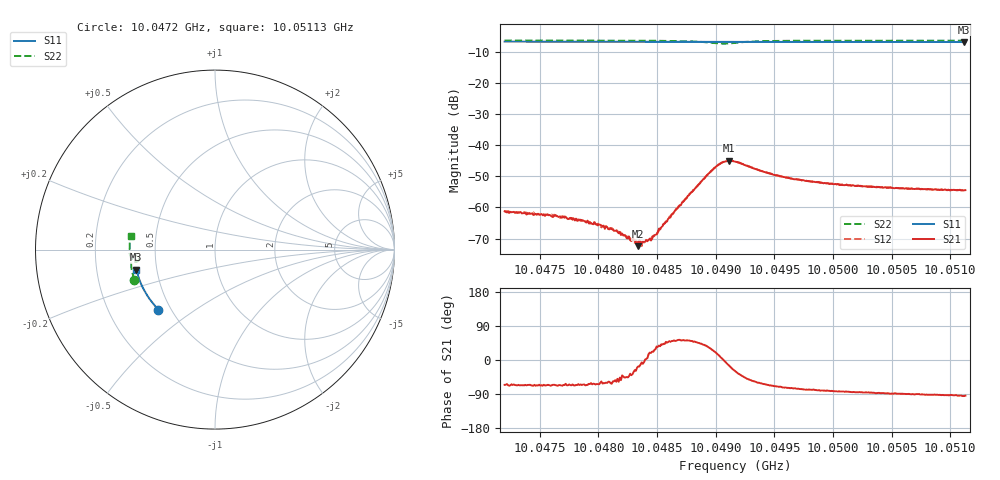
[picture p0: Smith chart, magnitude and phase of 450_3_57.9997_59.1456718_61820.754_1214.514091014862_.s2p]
#  HZ  S  RI  R  50.00
! Rohde & Schwarz Vector Network Analyzer
! Rohde-Schwarz,ZNB20-2Port,1311601062101988,3.16
! Created: UTC 3/21/2024, 1:10:26 AM
! freq[Hz]  re:S11  im:S11  re:S21  im:S21  re:S12  im:S12  re:S22  im:S22
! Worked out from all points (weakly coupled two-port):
!   401 points, 10.0472 GHz to 10.05113 GHz, reference 50 ohm
!   highest |S21| = -45.02 dB at 10.04912 GHz (marker M1); lowest = -72.4 dB at 10.04834 GHz (marker M2)
!   lowest |S11| = -6.9 dB at 10.05112 GHz (marker M3), VSWR 2.65, Z = 19.1 - j5.36 ohm
!   |S11| at or under -10 dB: nowhere
!   |S22| runs from -7.4 to -6.4 dB; largest |S21 - S12| = 0.00037
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1.00472e10  -0.3151 -0.3338  0.000358 -0.000788  0.0004 -0.000771  -0.4489 -0.1682
1.0047612e10  -0.3337 -0.3138  0.000291 -0.00064  0.000348 -0.000653  -0.4575 -0.1412
1.0047858e10  -0.3442 -0.3014  0.000248 -0.00056  0.000303 -0.000554  -0.4616 -0.1245
1.0047956e10  -0.3483 -0.2964  0.000249 -0.000477  0.000288 -0.000484  -0.4629 -0.1174
1.0048025e10  -0.3511 -0.2928  0.000284 -0.000432  0.000265 -0.000399  -0.464 -0.1127
1.0048133e10  -0.3554 -0.2873  0.000234 -0.00035  0.000268 -0.000321  -0.4653 -0.1049
1.0048339e10  -0.3635 -0.2765  0.000229 -7.02e-05  0.000265 -8.29e-05  -0.4673 -0.0891
1.0048379e10  -0.3651 -0.2742  0.000277 -4.97e-05  0.000309 -2.65e-05  -0.4674 -0.086
1.0048437e10  -0.3673 -0.2711  0.000298 0.000105  0.0003 8.36e-05  -0.4675 -0.0812
1.0048487e10  -0.3692 -0.2684  0.00032 0.000176  0.000317 0.000186  -0.4677 -0.0769
1.0048516e10  -0.3702 -0.2669  0.00036 0.000282  0.000329 0.000288  -0.4675 -0.0744
1.0048693e10  -0.3766 -0.2571  0.000635 0.000853  0.000624 0.000895  -0.4652 -0.0576
1.0048938e10  -0.3848 -0.2431  0.00292 0.00192  0.00279 0.00209  -0.4437 -0.0348
1.0049037e10  -0.3879 -0.2376  0.00496 0.000789  0.00492 0.0011  -0.4259 -0.042
1.0049115e10  -0.3904 -0.2333  0.00541 -0.00148  0.00552 -0.00115  -0.4252 -0.0596
1.0049164e10  -0.3919 -0.2308  0.00475 -0.00266  0.00497 -0.00239  -0.4332 -0.0668
1.0049498e10  -0.4024 -0.2115  0.00119 -0.00311  0.00139 -0.00306  -0.4691 -0.0446
1.0049823e10  -0.4115 -0.1922  0.000498 -0.00253  0.000682 -0.00253  -0.4751 -0.0166
1.0050078e10  -0.4179 -0.1767  0.000266 -0.00228  0.000417 -0.00232  -0.476 0.00282
1.0050481e10  -0.4269 -0.1519  5.55e-05 -0.00208  0.000178 -0.00206  -0.4754 0.0312
1.0051119e10  -0.4382 -0.1115  -0.000167 -0.00188  -1.2e-05 -0.0019  -0.4704 0.0744
1.0051129e10  -0.4383 -0.1109  -0.000133 -0.00189  -4.01e-05 -0.0019  -0.4701 0.0751
